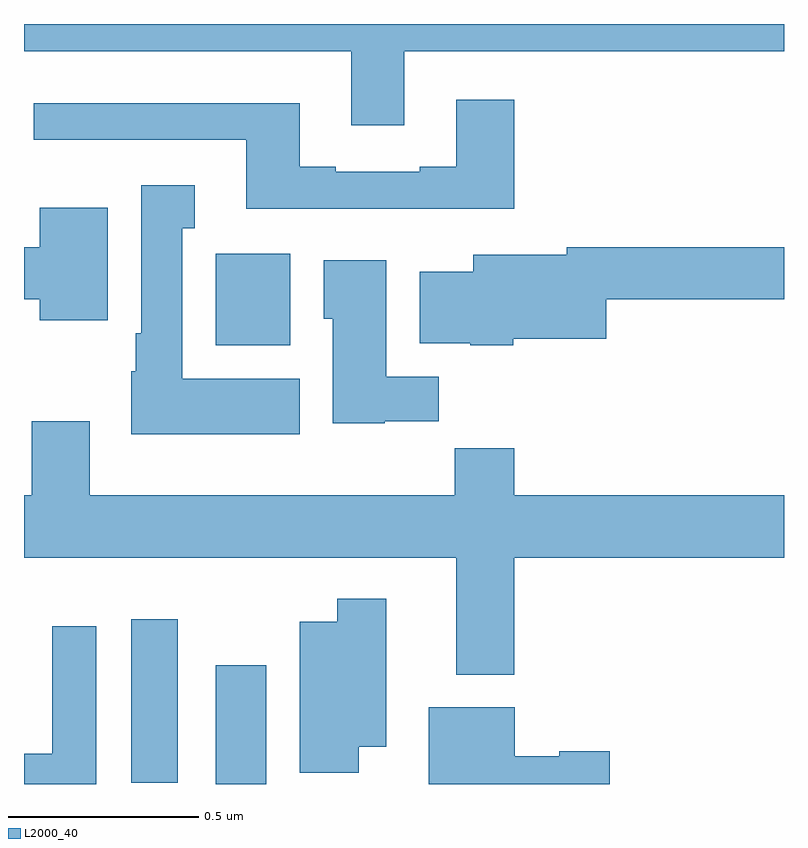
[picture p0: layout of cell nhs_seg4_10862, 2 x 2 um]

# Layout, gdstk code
import gdstk
lib = gdstk.Library(unit=1e-6, precision=1e-09)
def R(c, l, rs):  # rectangles x0, y0, x1, y1
    for r in rs: c.add(gdstk.rectangle(r[:2], r[2:], *l))
def P(c, l, *ps):  # polygons
    for p in ps: c.add(gdstk.Polygon(p, *l))
L2000_40 = (2000, 40)

nhs_seg4_10862 = lib.new_cell('nhs_seg4_10862')
R(nhs_seg4_10862, L2000_40, [(245.504,786.9,245.638,787.213), (245.282,786.903,245.404,787.333), (245.504,788.054,245.701,788.296)])
P(nhs_seg4_10862, L2000_40, [(246.001,788.828),(247,788.828),(247,788.9),(245,788.9),(245,788.828),(245.861,788.828),(245.861,788.634),(246.001,788.634)],
  [(246.29,788.701),(246.137,788.701),(246.137,788.524),(246.041,788.524),(246.041,788.511),(245.821,788.511),(245.821,788.524),(245.725,788.524),(245.725,788.692),(245.025,788.692),(245.025,788.595),(245.585,788.595),(245.585,788.414),(246.29,788.414)],
  [(245.725,787.966),(245.416,787.966),(245.416,788.363),(245.449,788.363),(245.449,788.476),(245.309,788.476),(245.309,788.086),(245.294,788.086),(245.294,787.986),(245.282,787.986),(245.282,787.82),(245.725,787.82)],
  [(245.221,788.416),(245.042,788.416),(245.042,788.312),(245,788.312),(245,788.176),(245.042,788.176),(245.042,788.12),(245.221,788.12)],
  [(246.288,788.072),(246.532,788.072),(246.532,788.176),(247,788.176),(247,788.312),(246.428,788.312),(246.428,788.293),(246.182,788.293),(246.182,788.248),(246.041,788.248),(246.041,788.06),(246.174,788.06),(246.174,788.054),(246.288,788.054)],
  [(245.949,787.854),(246.092,787.854),(246.092,787.972),(245.953,787.972),(245.953,788.278),(245.789,788.278),(245.789,788.124),(245.813,788.124),(245.813,787.85),(245.949,787.85)],
  [(246.29,787.496),(247,787.496),(247,787.66),(246.29,787.66),(246.29,787.784),(246.133,787.784),(246.133,787.66),(245.173,787.66),(245.173,787.855),(245.021,787.855),(245.021,787.66),(245,787.66),(245,787.496),(246.137,787.496),(246.137,787.187),(246.29,787.187)],
  [(245.881,786.998),(245.953,786.998),(245.953,787.387),(245.824,787.387),(245.824,787.327),(245.726,787.327),(245.726,786.93),(245.881,786.93)],
  [(245.19,787.315),(245.074,787.315),(245.074,786.98),(245,786.98),(245,786.9),(245.19,786.9)],
  [(246.541,786.986),(246.408,786.986),(246.408,786.973),(246.292,786.973),(246.292,787.102),(246.065,787.102),(246.065,786.9),(246.541,786.9)])

lib.write_gds('nhs_seg4_10862.gds')
